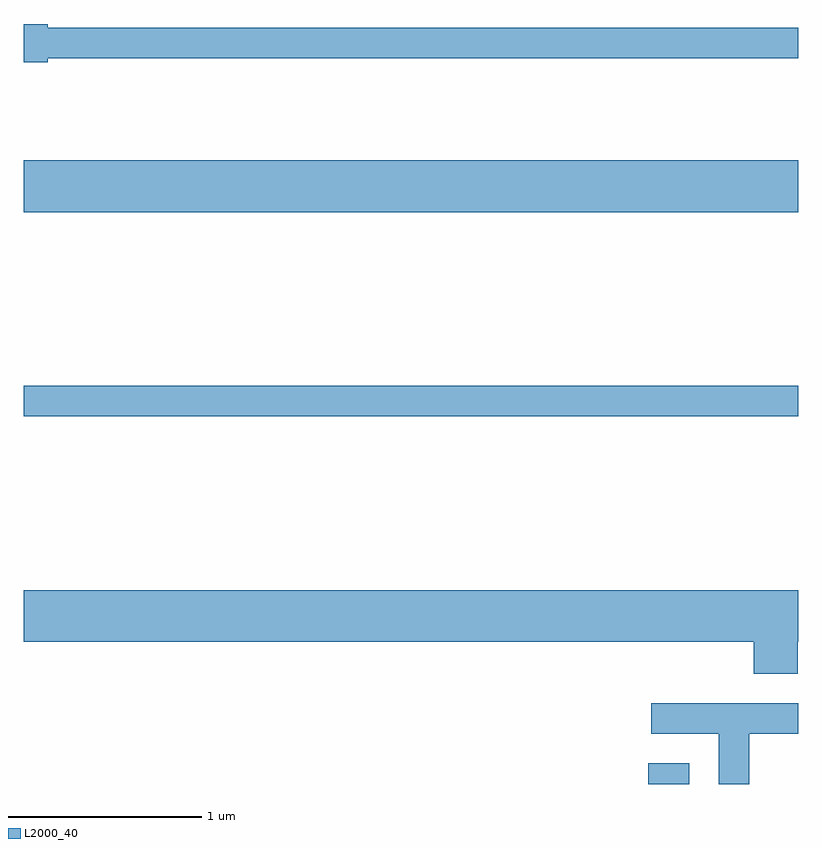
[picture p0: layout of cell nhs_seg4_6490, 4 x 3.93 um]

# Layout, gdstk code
import gdstk
lib = gdstk.Library(unit=1e-6, precision=1e-09)
def R(c, l, rs):  # rectangles x0, y0, x1, y1
    for r in rs: c.add(gdstk.rectangle(r[:2], r[2:], *l))
def P(c, l, *ps):  # polygons
    for p in ps: c.add(gdstk.Polygon(p, *l))
L2000_40 = (2000, 40)

nhs_seg4_6490 = lib.new_cell('nhs_seg4_6490')
R(nhs_seg4_6490, L2000_40, [(378.836,1313.982,379.049,1314.089), (375.611,1315.881,379.611,1316.039), (375.611,1316.936,379.611,1317.204)])
P(nhs_seg4_6490, L2000_40, [(375.734,1317.731),(379.611,1317.731),(379.611,1317.889),(375.734,1317.889),(375.734,1317.909),(375.611,1317.909),(375.611,1317.711),(375.734,1317.711)],
  [(379.609,1314.716),(379.611,1314.716),(379.611,1314.984),(375.611,1314.984),(375.611,1314.716),(379.381,1314.716),(379.381,1314.551),(379.609,1314.551)],
  [(379.359,1314.241),(379.611,1314.241),(379.611,1314.399),(378.853,1314.399),(378.853,1314.241),(379.201,1314.241),(379.201,1313.982),(379.359,1313.982)])

lib.write_gds('nhs_seg4_6490.gds')
